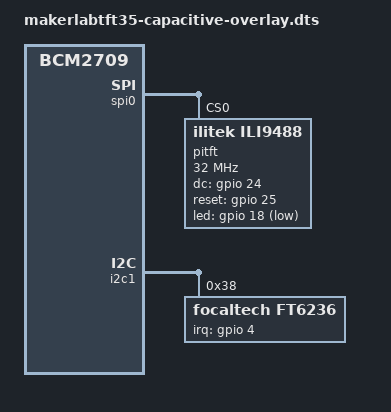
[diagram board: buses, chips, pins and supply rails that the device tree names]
/*
 * Device Tree overlay for MakerLAB PiTFT 3.5" capacitive touch screen
 *
 */

/dts-v1/;
/plugin/;

/ {
        compatible = "brcm,bcm2835", "brcm,bcm2708", "brcm,bcm2709";

        fragment@0 {
                target = <&spi0>;
                __overlay__ {
                        status = "okay";
                };
        };

	fragment@1 {
		target = <&spidev0>;
		__overlay__ {
			status = "disabled";
		};
	};

        fragment@2 {
                target = <&gpio>;
                __overlay__ {
                        pitft_pins: pitft_pins {
                                brcm,pins = <4 24 25 18>;
                                brcm,function = <0 1 1 1>; /* in out out out */
                                brcm,pull = <2 0 0 0>; /* pullup none */
                        };
                };
        };

        fragment@3 {
                target = <&spi0>;
                __overlay__ {
                        /* needed to avoid dtc warning */
                        #address-cells = <1>;
                        #size-cells = <0>;

                        pitft: pitft@0{
                                compatible = "ilitek,ili9488";
                                reg = <0>;
                                pinctrl-names = "default";
                                pinctrl-0 = <&pitft_pins>;

                                spi-max-frequency = <32000000>;
                                rotate = <90>;
                                fps = <25>;
                                bgr;
                                buswidth = <8>;
                                dc-gpios = <&gpio 24 0>;
				reset-gpios = <&gpio 25 0>;
				led-gpios = <&gpio 18 1>;
                                debug = <0>;
                        };
                };
        };

        fragment@4 {
                target = <&i2c1>;
                __overlay__ {
                        /* needed to avoid dtc warning */
                        #address-cells = <1>;
                        #size-cells = <0>;

                        ft6236: ft6236@38 {
                                compatible = "focaltech,ft6236";
                                reg = <0x38>;

                                interrupt-parent = <&gpio>;
                                interrupts = <4 2>;
                                touchscreen-size-x = <320>;
                                touchscreen-size-y = <480>;
                        };
                };
        };

        __overrides__ {
                speed =   <&pitft>,"spi-max-frequency:0";
                rotate =  <&pitft>,"rotate:0";
                fps =     <&pitft>,"fps:0";
                debug =   <&pitft>,"debug:0";
                touch-sizex = <&ft6236>,"touchscreen-size-x?";
                touch-sizey = <&ft6236>,"touchscreen-size-y?";
                touch-invx  = <&ft6236>,"touchscreen-inverted-x?";
                touch-invy  = <&ft6236>,"touchscreen-inverted-y?";
                touch-swapxy = <&ft6236>,"touchscreen-swapped-x-y?";
        };
};
